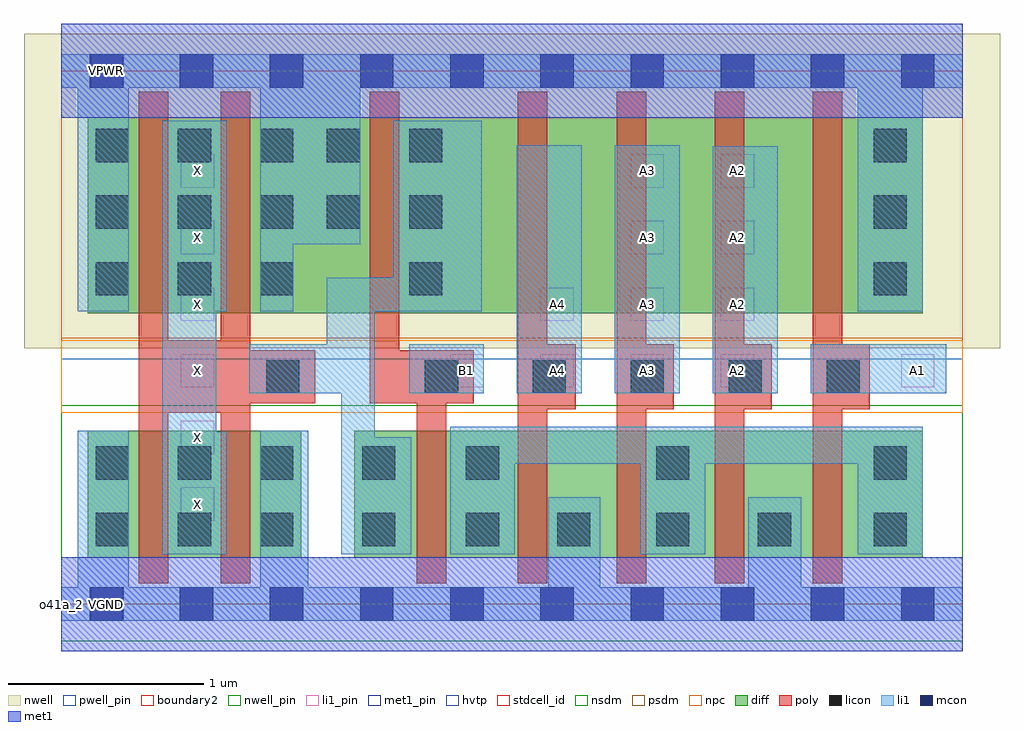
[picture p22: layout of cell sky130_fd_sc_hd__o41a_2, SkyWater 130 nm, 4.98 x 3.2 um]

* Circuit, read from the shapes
.subckt sky130_fd_sc_hd__o41a_2 A1 A2 A3 A4 B1 VGND VNB VPB VPWR X
XM1 X n1 VGND VNB sky130_fd_pr__nfet_01v8 w=0.65 l=0.15 m=2
XM2 n2 B1 n1 VNB sky130_fd_pr__nfet_01v8 w=0.65 l=0.15
XM3 VGND A4 n2 VNB sky130_fd_pr__nfet_01v8 w=0.65 l=0.15
XM4 n2 A3 VGND VNB sky130_fd_pr__nfet_01v8 w=0.65 l=0.15
XM5 VGND A2 n2 VNB sky130_fd_pr__nfet_01v8 w=0.65 l=0.15
XM6 n2 A1 VGND VNB sky130_fd_pr__nfet_01v8 w=0.65 l=0.15
XM7 X n1 VPWR VPB sky130_fd_pr__pfet_01v8_hvt w=1 l=0.15 m=2
XM8 n1 B1 VPWR VPB sky130_fd_pr__pfet_01v8_hvt w=1 l=0.15
XM9 n3 A4 n1 VPB sky130_fd_pr__pfet_01v8_hvt w=1 l=0.15
XM10 n4 A3 n3 VPB sky130_fd_pr__pfet_01v8_hvt w=1 l=0.15
XM11 n5 A2 n4 VPB sky130_fd_pr__pfet_01v8_hvt w=1 l=0.15
XM12 VPWR A1 n5 VPB sky130_fd_pr__pfet_01v8_hvt w=1 l=0.15
.ends

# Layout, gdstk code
import gdstk
lib = gdstk.Library(unit=1e-6, precision=1e-09)
def R(c, l, rs):  # rectangles x0, y0, x1, y1
    for r in rs: c.add(gdstk.rectangle(r[:2], r[2:], *l))
def A(c, l, x, y, w, h, nx, ny, dx, dy):  # array of equal rectangles
    R(c, l, [(x+i*dx, y+j*dy, x+i*dx+w, y+j*dy+h) for i in range(nx) for j in range(ny)])
def P(c, l, *ps):  # polygons
    for p in ps: c.add(gdstk.Polygon(p, *l))
nwell_pin = (64, 16)
nwell = (64, 20)
diff = (65, 20)
poly = (66, 20)
licon = (66, 44)
li1_pin = (67, 16)
li1 = (67, 20)
mcon = (67, 44)
met1_pin = (68, 16)
met1 = (68, 20)
hvtp = (78, 44)
stdcell_id = (81, 4)
nsdm = (93, 44)
psdm = (94, 20)
npc = (95, 20)
pwell_pin = (122, 16)
boundary2 = (236, 0)

sky130_fd_sc_hd__o41a_2 = lib.new_cell('sky130_fd_sc_hd__o41a_2')
R(sky130_fd_sc_hd__o41a_2, nwell_pin, [(0.15,2.635,0.32,2.805)])
R(sky130_fd_sc_hd__o41a_2, nwell, [(-0.19,1.305,4.79,2.91)])
R(sky130_fd_sc_hd__o41a_2, diff, [(0.135,0.235,1.225,0.885), (1.495,0.235,4.395,0.885), (0.135,1.485,4.395,2.485)])
P(sky130_fd_sc_hd__o41a_2, poly, [(0.395,0.105),(0.395,2.615),(0.545,2.615),(0.545,1.345),(0.815,1.345),(0.815,2.615),(0.965,2.615),(0.965,1.295),(1.295,1.295),(1.295,1.025),(0.965,1.025),(0.965,0.105),(0.815,0.105),(0.815,0.975),(0.545,0.975),(0.545,0.105)],
  [(1.815,0.105),(1.815,1.025),(1.575,1.025),(1.575,2.615),(1.725,2.615),(1.725,1.295),(2.105,1.295),(2.105,1.025),(1.965,1.025),(1.965,0.105)],
  [(2.835,0.105),(2.835,2.615),(2.985,2.615),(2.985,1.325),(3.125,1.325),(3.125,0.995),(2.985,0.995),(2.985,0.105)],
  [(3.335,0.105),(3.335,2.615),(3.485,2.615),(3.485,1.325),(3.625,1.325),(3.625,0.995),(3.485,0.995),(3.485,0.105)],
  [(3.835,0.105),(3.835,2.615),(3.985,2.615),(3.985,1.325),(4.125,1.325),(4.125,0.995),(3.985,0.995),(3.985,0.105)],
  [(2.33,0.105),(2.33,2.615),(2.48,2.615),(2.48,1.325),(2.625,1.325),(2.625,0.995),(2.48,0.995),(2.48,0.105)])
A(sky130_fd_sc_hd__o41a_2, licon, 0.175, 0.295, 0.17, 0.17, 3, 2, 0.42, 0.34)
A(sky130_fd_sc_hd__o41a_2, licon, 2.405, 1.075, 0.17, 0.17, 4, 1, 0.5, 0)
A(sky130_fd_sc_hd__o41a_2, licon, 0.175, 1.575, 0.17, 0.17, 3, 3, 0.42, 0.34)
A(sky130_fd_sc_hd__o41a_2, licon, 1.775, 1.575, 0.17, 0.17, 1, 3, 0, 0.34)
A(sky130_fd_sc_hd__o41a_2, licon, 4.145, 1.575, 0.17, 0.17, 1, 3, 0, 0.34)
R(sky130_fd_sc_hd__o41a_2, licon, [(1.535,0.295,1.705,0.465), (2.065,0.295,2.235,0.465), (2.53,0.295,2.7,0.465), (3.035,0.295,3.205,0.465), (3.555,0.295,3.725,0.465), (4.145,0.295,4.315,0.465), (1.535,0.635,1.705,0.805), (2.065,0.635,2.235,0.805), (3.035,0.635,3.205,0.805), (4.145,0.635,4.315,0.805), (1.045,1.075,1.215,1.245), (1.855,1.075,2.025,1.245), (1.355,1.915,1.525,2.085), (1.355,2.255,1.525,2.425)])
A(sky130_fd_sc_hd__o41a_2, li1_pin, 0.61, 0.425, 0.17, 0.17, 1, 6, 0, 0.34)
A(sky130_fd_sc_hd__o41a_2, li1_pin, 1.985, 1.105, 0.17, 0.17, 4, 1, 0.46, 0)
A(sky130_fd_sc_hd__o41a_2, li1_pin, 2.445, 1.445, 0.17, 0.17, 3, 1, 0.46, 0)
R(sky130_fd_sc_hd__o41a_2, li1_pin, [(4.285,1.105,4.455,1.275), (2.905,1.785,3.075,1.955), (3.365,1.785,3.535,1.955), (2.905,2.125,3.075,2.295), (3.365,2.125,3.535,2.295)])
R(sky130_fd_sc_hd__o41a_2, li1, [(1.775,1.075,2.155,1.325), (2.325,1.075,2.655,2.34), (2.825,1.075,3.155,2.34), (3.325,1.075,3.655,2.335), (3.825,1.075,4.515,1.325)])
P(sky130_fd_sc_hd__o41a_2, li1, [(1.985,0.255),(1.985,0.905),(4.395,0.905),(4.395,0.255),(4.065,0.255),(4.065,0.715),(3.285,0.715),(3.285,0.255),(2.955,0.255),(2.955,0.715),(2.315,0.715),(2.315,0.255)],
  [(1.43,0.255),(1.43,1.075),(0.96,1.075),(0.96,1.325),(1.355,1.325),(1.355,1.665),(1.695,1.665),(1.695,2.465),(2.145,2.465),(2.145,1.495),(1.6,1.495),(1.6,0.85),(1.785,0.85),(1.785,0.255)],
  [(0.085,1.495),(0.085,2.635),(0,2.635),(0,2.805),(4.6,2.805),(4.6,2.635),(4.395,2.635),(4.395,1.495),(4.065,1.495),(4.065,2.635),(1.525,2.635),(1.525,1.835),(1.185,1.835),(1.185,1.495),(1.015,1.495),(1.015,2.635),(0.345,2.635),(0.345,1.495)],
  [(0.515,0.255),(0.515,2.465),(0.845,2.465),(0.845,1.495),(0.79,1.495),(0.79,0.88),(0.845,0.88),(0.845,0.255)],
  [(0,-0.085),(0,0.085),(0.085,0.085),(0.085,0.885),(0.345,0.885),(0.345,0.085),(1.015,0.085),(1.015,0.885),(1.26,0.885),(1.26,0.085),(2.485,0.085),(2.485,0.545),(2.75,0.545),(2.75,0.085),(3.505,0.085),(3.505,0.545),(3.775,0.545),(3.775,0.085),(4.6,0.085),(4.6,-0.085)])
A(sky130_fd_sc_hd__o41a_2, mcon, 0.145, -0.085, 0.17, 0.17, 10, 2, 0.46, 2.72)
R(sky130_fd_sc_hd__o41a_2, met1_pin, [(0.15,-0.085,0.32,0.085), (0.15,2.635,0.32,2.805)])
R(sky130_fd_sc_hd__o41a_2, hvtp, [(0,1.25,4.6,2.72)])
R(sky130_fd_sc_hd__o41a_2, stdcell_id, [(0,0,4.6,2.72)])
R(sky130_fd_sc_hd__o41a_2, nsdm, [(0,-0.19,4.6,1.015)])
R(sky130_fd_sc_hd__o41a_2, psdm, [(0,1.355,4.6,2.91)])
R(sky130_fd_sc_hd__o41a_2, npc, [(0,0.975,4.6,1.345)])
R(sky130_fd_sc_hd__o41a_2, pwell_pin, [(0.15,-0.085,0.32,0.085)])
R(sky130_fd_sc_hd__o41a_2, boundary2, [(0,0,4.6,2.72)])
sky130_fd_sc_hd__o41a_2.add(gdstk.FlexPath([(0,0),(4.6,0)], 0.48, ends="flush", simple_path=True, layer=68, datatype=20))  # met1
sky130_fd_sc_hd__o41a_2.add(gdstk.FlexPath([(0,2.72),(4.6,2.72)], 0.48, ends="flush", simple_path=True, layer=68, datatype=20))  # met1
sky130_fd_sc_hd__o41a_2.add(gdstk.Label('VPWR', (0.23,2.72), layer=68, texttype=5))
sky130_fd_sc_hd__o41a_2.add(gdstk.Label('VGND', (0.23,0), layer=68, texttype=5))
sky130_fd_sc_hd__o41a_2.add(gdstk.Label('VPB', (0.23,2.72), layer=64, texttype=5))
sky130_fd_sc_hd__o41a_2.add(gdstk.Label('VNB', (0.23,0), layer=64, texttype=59))
sky130_fd_sc_hd__o41a_2.add(gdstk.Label('o41a_2', (0,0), layer=83, texttype=44))
sky130_fd_sc_hd__o41a_2.add(gdstk.Label('X', (0.695,0.51), layer=67, texttype=5))
sky130_fd_sc_hd__o41a_2.add(gdstk.Label('X', (0.695,0.85), layer=67, texttype=5))
sky130_fd_sc_hd__o41a_2.add(gdstk.Label('X', (0.695,1.19), layer=67, texttype=5))
sky130_fd_sc_hd__o41a_2.add(gdstk.Label('X', (0.695,1.53), layer=67, texttype=5))
sky130_fd_sc_hd__o41a_2.add(gdstk.Label('X', (0.695,1.87), layer=67, texttype=5))
sky130_fd_sc_hd__o41a_2.add(gdstk.Label('X', (0.695,2.21), layer=67, texttype=5))
sky130_fd_sc_hd__o41a_2.add(gdstk.Label('B1', (2.07,1.19), layer=67, texttype=5))
sky130_fd_sc_hd__o41a_2.add(gdstk.Label('A4', (2.53,1.19), layer=67, texttype=5))
sky130_fd_sc_hd__o41a_2.add(gdstk.Label('A4', (2.53,1.53), layer=67, texttype=5))
sky130_fd_sc_hd__o41a_2.add(gdstk.Label('A3', (2.99,1.19), layer=67, texttype=5))
sky130_fd_sc_hd__o41a_2.add(gdstk.Label('A3', (2.99,1.53), layer=67, texttype=5))
sky130_fd_sc_hd__o41a_2.add(gdstk.Label('A3', (2.99,1.87), layer=67, texttype=5))
sky130_fd_sc_hd__o41a_2.add(gdstk.Label('A3', (2.99,2.21), layer=67, texttype=5))
sky130_fd_sc_hd__o41a_2.add(gdstk.Label('A2', (3.45,1.19), layer=67, texttype=5))
sky130_fd_sc_hd__o41a_2.add(gdstk.Label('A2', (3.45,1.53), layer=67, texttype=5))
sky130_fd_sc_hd__o41a_2.add(gdstk.Label('A2', (3.45,1.87), layer=67, texttype=5))
sky130_fd_sc_hd__o41a_2.add(gdstk.Label('A2', (3.45,2.21), layer=67, texttype=5))
sky130_fd_sc_hd__o41a_2.add(gdstk.Label('A1', (4.37,1.19), layer=67, texttype=5))

lib.write_gds('sky130_fd_sc_hd__o41a_2.gds')
